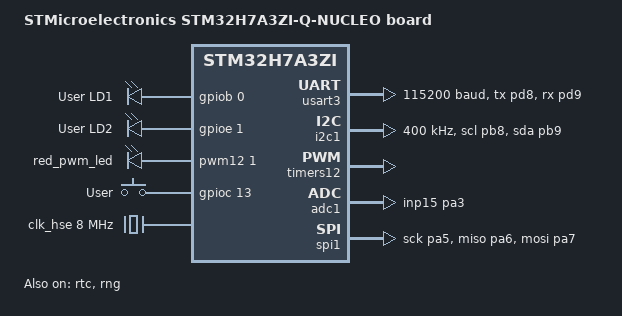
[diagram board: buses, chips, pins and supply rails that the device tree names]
/*
 * Copyright (c) 2021 Electrolance Solutions
 *
 * SPDX-License-Identifier: Apache-2.0
 */

/dts-v1/;
#include <st/h7/stm32h7a3Xi.dtsi>
#include <st/h7/stm32h7a3z(g-i)txq-pinctrl.dtsi>
#include "arduino_r3_connector.dtsi"

/ {
	model = "STMicroelectronics STM32H7A3ZI-Q-NUCLEO board";
	compatible = "st,stm32h7a3zi-q-nucleo";

	chosen {
		zephyr,console = &usart3;
		zephyr,shell-uart = &usart3;
		zephyr,sram = &sram0;
		zephyr,flash = &flash0;
		zephyr,dtcm = &dtcm;
	};

	leds {
		compatible = "gpio-leds";
		green_led: led_0 {
			gpios = <&gpiob 0 GPIO_ACTIVE_HIGH>;
			label = "User LD1";
		};
		yellow_led: led_1 {
			gpios = <&gpioe 1 GPIO_ACTIVE_HIGH>;
			label = "User LD2";
		};
	};

	pwmleds {
		compatible = "pwm-leds";

		red_pwm_led: red_pwm_led {
			pwms = <&pwm12 1 4 PWM_POLARITY_NORMAL>;
		};
	};

	gpio_keys {
		compatible = "gpio-keys";
		user_button: button_0 {
			label = "User";
			gpios = <&gpioc 13 GPIO_ACTIVE_HIGH>;
		};
	};

	aliases {
		led0 = &green_led;
		led1 = &yellow_led;
		pwm-led0 = &red_pwm_led;
		sw0 = &user_button;
	};
};

&clk_hse {
	hse-bypass;
	clock-frequency = <DT_FREQ_M(8)>; /* STLink 8MHz clock */
	status = "okay";
};

&pll {
	div-m = <1>;
	mul-n = <24>;
	div-p = <2>;
	div-q = <4>;
	div-r = <2>;
	clocks = <&clk_hse>;
	status = "okay";
};

&rcc {
	clocks = <&pll>;
	clock-frequency = <DT_FREQ_M(96)>;
	/* comments shows the correspondin mapping, this SoC uses diff scheme of domain expression  */
	/* CDCPRE */
	d1cpre = <1>;
	hpre = <1>;
	/* CDPPRE  */
	d1ppre = <2>;
	/* CDPPRE1  */
	d2ppre1 = <2>;
	/* CDPPRE2  */
	d2ppre2 = <2>; /* def:1 */
	/* SRDPPRE */
	d3ppre = <2>;
};

&usart3 {
	pinctrl-0 = <&usart3_tx_pd8 &usart3_rx_pd9>;
	current-speed = <115200>;
	status = "okay";
};

&rtc {
	status = "okay";
};

&backup_sram {
	status = "okay";
};

&i2c1 {
	pinctrl-0 = <&i2c1_scl_pb8 &i2c1_sda_pb9>;
	status = "okay";
	clock-frequency = <I2C_BITRATE_FAST>;
};

&timers12 {
	status = "okay";

	pwm12: pwm {
		status = "okay";
		st,prescaler = <10000>;
		pinctrl-0 = <&tim12_ch1_pb14>;
	};
};

&adc1 {
	pinctrl-0 = <&adc1_inp15_pa3>;
	status = "okay";
};

&rng {
	status = "okay";
};

&spi1 {
	status = "okay";
	pinctrl-0 = <&spi1_sck_pa5 &spi1_miso_pa6 &spi1_mosi_pa7>;
	cs-gpios = <&gpiod 14 (GPIO_ACTIVE_LOW | GPIO_PULL_UP)>;
};

